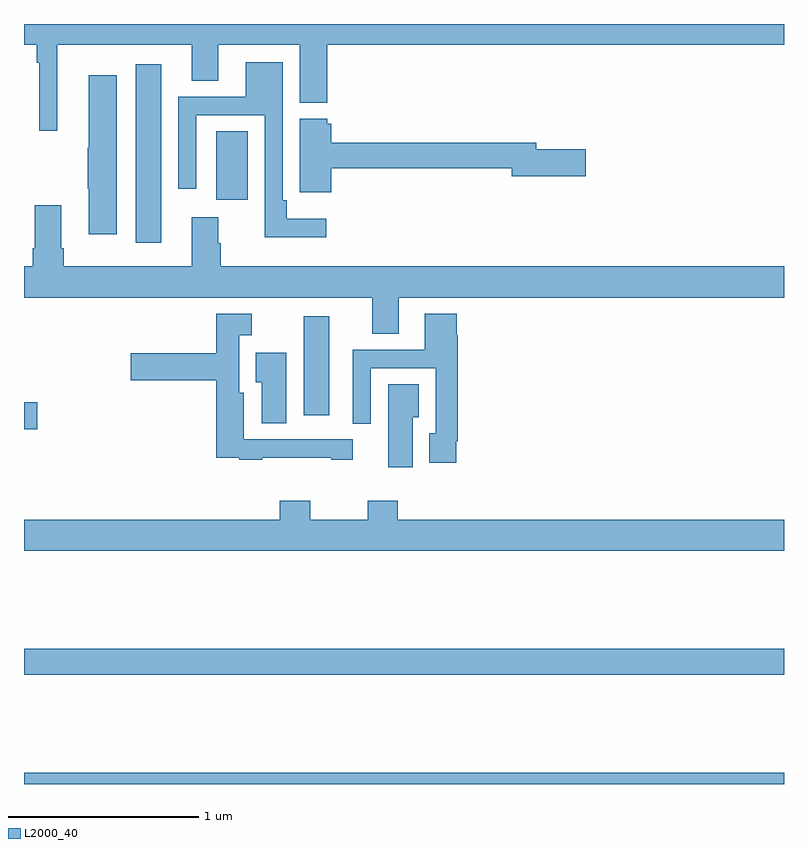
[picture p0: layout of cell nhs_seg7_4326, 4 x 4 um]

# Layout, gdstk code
import gdstk
lib = gdstk.Library(unit=1e-6, precision=1e-09)
def R(c, l, rs):  # rectangles x0, y0, x1, y1
    for r in rs: c.add(gdstk.rectangle(r[:2], r[2:], *l))
def P(c, l, *ps):  # polygons
    for p in ps: c.add(gdstk.Polygon(p, *l))
L2000_40 = (2000, 40)

nhs_seg7_4326 = lib.new_cell('nhs_seg7_4326')
R(nhs_seg7_4326, L2000_40, [(383,1054,387,1054.06), (383,1054.576,387,1054.712), (383,1055.866,383.071,1056.008), (384.473,1055.94,384.607,1056.463), (383.588,1056.849,383.722,1057.789), (384.011,1057.074,384.178,1057.436)])
P(nhs_seg7_4326, L2000_40, [(383.176,1057.892),(383.882,1057.892),(383.882,1057.702),(384.022,1057.702),(384.022,1057.892),(384.452,1057.892),(384.452,1057.586),(384.596,1057.586),(384.596,1057.892),(387,1057.892),(387,1058),(383,1058),(383,1057.892),(383.066,1057.892),(383.066,1057.796),(383.079,1057.796),(383.079,1057.437),(383.176,1057.437)],
  [(384.592,1056.976),(384.383,1056.976),(384.383,1057.072),(384.363,1057.072),(384.363,1057.798),(384.167,1057.798),(384.167,1057.617),(383.811,1057.617),(383.811,1057.134),(383.907,1057.134),(383.907,1057.521),(384.267,1057.521),(384.267,1056.878),(384.592,1056.878)],
  [(383.488,1057.729),(383.342,1057.729),(383.342,1057.349),(383.335,1057.349),(383.335,1057.132),(383.342,1057.132),(383.342,1056.894),(383.488,1056.894)],
  [(384.616,1057.24),(385.568,1057.24),(385.568,1057.198),(385.957,1057.198),(385.957,1057.34),(385.696,1057.34),(385.696,1057.376),(384.616,1057.376),(384.616,1057.476),(384.597,1057.476),(384.597,1057.501),(384.452,1057.501),(384.452,1057.115),(384.616,1057.115)],
  [(384.973,1056.56),(387,1056.56),(387,1056.724),(384.035,1056.724),(384.035,1056.845),(384.022,1056.845),(384.022,1056.982),(383.882,1056.982),(383.882,1056.724),(383.21,1056.724),(383.21,1056.82),(383.197,1056.82),(383.197,1057.045),(383.057,1057.045),(383.057,1056.82),(383.045,1056.82),(383.045,1056.724),(383,1056.724),(383,1056.56),(384.833,1056.56),(384.833,1056.37),(384.973,1056.37)],
  [(384.253,1055.716),(384.617,1055.716),(384.617,1055.706),(384.729,1055.706),(384.729,1055.814),(384.157,1055.814),(384.157,1056.06),(384.133,1056.06),(384.133,1056.362),(384.199,1056.362),(384.199,1056.475),(384.012,1056.475),(384.012,1056.267),(383.562,1056.267),(383.562,1056.125),(384.012,1056.125),(384.012,1055.718),(384.133,1055.718),(384.133,1055.706),(384.253,1055.706)],
  [(385.276,1055.803),(385.283,1055.803),(385.283,1056.362),(385.277,1056.362),(385.277,1056.475),(385.109,1056.475),(385.109,1056.285),(384.729,1056.285),(384.729,1055.895),(384.825,1055.895),(384.825,1056.189),(385.167,1056.189),(385.167,1055.847),(385.133,1055.847),(385.133,1055.691),(385.276,1055.691)],
  [(384.379,1056.271),(384.221,1056.271),(384.221,1056.115),(384.251,1056.115),(384.251,1055.899),(384.379,1055.899)],
  [(385.045,1055.93),(385.078,1055.93),(385.078,1056.104),(384.917,1056.104),(384.917,1055.667),(385.045,1055.667)],
  [(387,1055.392),(384.968,1055.392),(384.968,1055.491),(384.808,1055.491),(384.808,1055.392),(384.507,1055.392),(384.507,1055.491),(384.347,1055.491),(384.347,1055.392),(383,1055.392),(383,1055.228),(387,1055.228)])

lib.write_gds('nhs_seg7_4326.gds')
